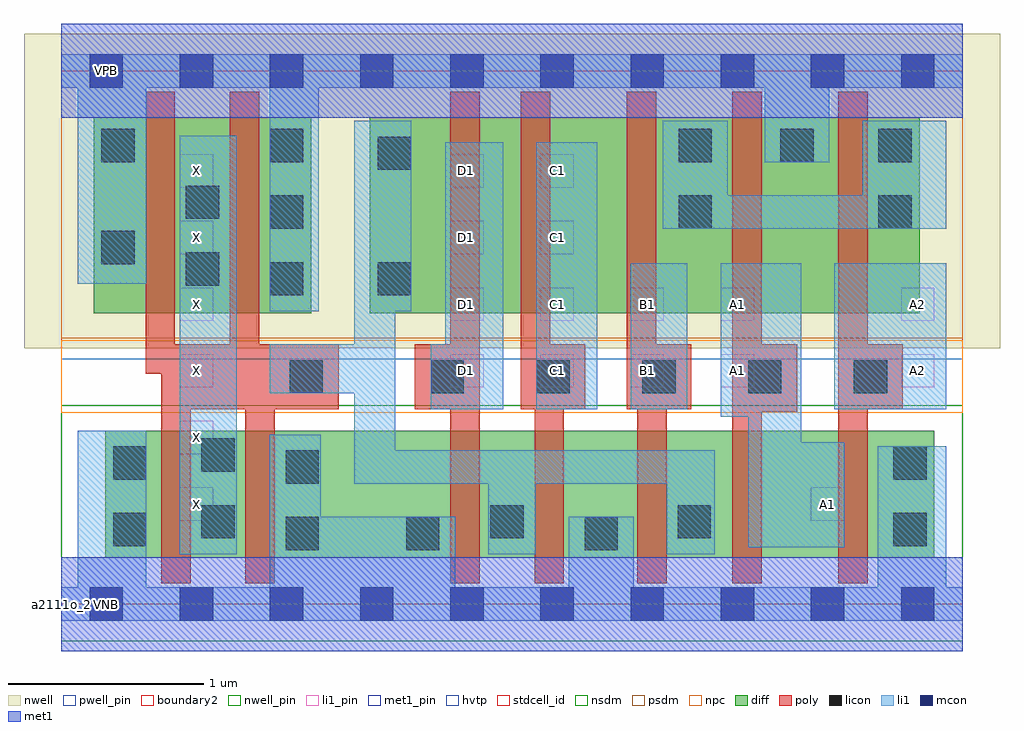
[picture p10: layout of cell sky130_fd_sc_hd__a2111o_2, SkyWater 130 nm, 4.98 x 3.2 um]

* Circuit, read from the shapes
.subckt sky130_fd_sc_hd__a2111o_2 A1 A2 B1 C1 D1 VGND VNB VPB VPWR X
XM1 X n1 VGND VNB sky130_fd_pr__nfet_01v8 w=0.65 l=0.15 m=2
XM2 n1 D1 VGND VNB sky130_fd_pr__nfet_01v8 w=0.65 l=0.15
XM3 VGND C1 n1 VNB sky130_fd_pr__nfet_01v8 w=0.65 l=0.15
XM4 n1 B1 VGND VNB sky130_fd_pr__nfet_01v8 w=0.65 l=0.15
XM5 n2 A1 n1 VNB sky130_fd_pr__nfet_01v8 w=0.65 l=0.15
XM6 VGND A2 n2 VNB sky130_fd_pr__nfet_01v8 w=0.65 l=0.15
XM7 X n1 VPWR VPB sky130_fd_pr__pfet_01v8_hvt w=1 l=0.15 m=2
XM8 n3 D1 n1 VPB sky130_fd_pr__pfet_01v8_hvt w=1 l=0.15
XM9 n4 C1 n3 VPB sky130_fd_pr__pfet_01v8_hvt w=1 l=0.15
XM10 n5 B1 n4 VPB sky130_fd_pr__pfet_01v8_hvt w=1 l=0.15
XM11 VPWR A1 n5 VPB sky130_fd_pr__pfet_01v8_hvt w=1 l=0.15
XM12 n5 A2 VPWR VPB sky130_fd_pr__pfet_01v8_hvt w=1 l=0.15
.ends

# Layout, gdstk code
import gdstk
lib = gdstk.Library(unit=1e-6, precision=1e-09)
def R(c, l, rs):  # rectangles x0, y0, x1, y1
    for r in rs: c.add(gdstk.rectangle(r[:2], r[2:], *l))
def A(c, l, x, y, w, h, nx, ny, dx, dy):  # array of equal rectangles
    R(c, l, [(x+i*dx, y+j*dy, x+i*dx+w, y+j*dy+h) for i in range(nx) for j in range(ny)])
def P(c, l, *ps):  # polygons
    for p in ps: c.add(gdstk.Polygon(p, *l))
nwell_pin = (64, 16)
nwell = (64, 20)
diff = (65, 20)
poly = (66, 20)
licon = (66, 44)
li1_pin = (67, 16)
li1 = (67, 20)
mcon = (67, 44)
met1_pin = (68, 16)
met1 = (68, 20)
hvtp = (78, 44)
stdcell_id = (81, 4)
nsdm = (93, 44)
psdm = (94, 20)
npc = (95, 20)
pwell_pin = (122, 16)
boundary2 = (236, 0)

sky130_fd_sc_hd__a2111o_ = lib.new_cell('sky130_fd_sc_hd__a2111o_2')
R(sky130_fd_sc_hd__a2111o_, nwell_pin, [(0.145,2.635,0.315,2.805)])
R(sky130_fd_sc_hd__a2111o_, nwell, [(-0.19,1.305,4.79,2.91)])
R(sky130_fd_sc_hd__a2111o_, diff, [(0.225,0.235,4.455,0.885), (0.165,1.485,1.275,2.485), (1.575,1.485,4.38,2.485)])
P(sky130_fd_sc_hd__a2111o_, poly, [(1.415,1.325),(1.01,1.325),(1.01,2.615),(0.86,2.615),(0.86,1.325),(0.58,1.325),(0.58,2.615),(0.43,2.615),(0.43,1.175),(0.51,1.175),(0.51,0.105),(0.66,0.105),(0.66,0.995),(0.94,0.995),(0.94,0.105),(1.09,0.105),(1.09,0.995),(1.415,0.995)],
  [(2.135,2.615),(1.985,2.615),(1.985,1.325),(1.805,1.325),(1.805,0.995),(1.985,0.995),(1.985,0.105),(2.135,0.105)],
  [(2.675,1.325),(2.495,1.325),(2.495,2.615),(2.345,2.615),(2.345,0.995),(2.415,0.995),(2.415,0.105),(2.565,0.105),(2.565,0.995),(2.675,0.995)],
  [(3.215,1.325),(3.035,1.325),(3.035,2.615),(2.885,2.615),(2.885,0.995),(2.94,0.995),(2.94,0.105),(3.09,0.105),(3.09,0.995),(3.215,0.995)],
  [(3.755,1.325),(3.575,1.325),(3.575,2.615),(3.425,2.615),(3.425,0.105),(3.575,0.105),(3.575,0.98),(3.755,0.98)],
  [(4.295,1.325),(4.115,1.325),(4.115,2.615),(3.965,2.615),(3.965,0.105),(4.115,0.105),(4.115,0.995),(4.295,0.995)])
A(sky130_fd_sc_hd__a2111o_, licon, 1.885, 1.075, 0.17, 0.17, 5, 1, 0.54, 0)
A(sky130_fd_sc_hd__a2111o_, licon, 1.065, 1.575, 0.17, 0.17, 1, 3, 0, 0.34)
R(sky130_fd_sc_hd__a2111o_, licon, [(1.145,0.275,1.315,0.445), (1.76,0.275,1.93,0.445), (2.67,0.275,2.84,0.445), (0.265,0.295,0.435,0.465), (4.245,0.295,4.415,0.465), (0.715,0.335,0.885,0.505), (2.19,0.335,2.36,0.505), (3.145,0.335,3.315,0.505), (1.145,0.615,1.315,0.785), (0.265,0.635,0.435,0.805), (4.245,0.635,4.415,0.805), (0.715,0.675,0.885,0.845), (1.165,1.075,1.335,1.245), (1.615,1.575,1.785,1.745), (0.635,1.625,0.805,1.795), (0.205,1.735,0.375,1.905), (3.15,1.915,3.32,2.085), (4.17,1.915,4.34,2.085), (0.635,1.965,0.805,2.135), (1.615,2.215,1.785,2.385), (0.205,2.255,0.375,2.425), (3.15,2.255,3.32,2.425), (3.67,2.255,3.84,2.425), (4.17,2.255,4.34,2.425)])
A(sky130_fd_sc_hd__a2111o_, li1_pin, 0.605, 0.425, 0.17, 0.17, 1, 6, 0, 0.34)
A(sky130_fd_sc_hd__a2111o_, li1_pin, 1.985, 1.105, 0.17, 0.17, 4, 2, 0.46, 0.34)
R(sky130_fd_sc_hd__a2111o_, li1_pin, [(3.825,0.425,3.995,0.595), (4.285,1.105,4.455,1.275), (4.285,1.445,4.455,1.615), (1.985,1.785,2.155,1.955), (2.445,1.785,2.615,1.955), (1.985,2.125,2.155,2.295), (2.445,2.125,2.615,2.295)])
R(sky130_fd_sc_hd__a2111o_, li1, [(0.605,0.255,0.895,2.39), (2.425,0.995,2.735,2.355), (2.905,0.995,3.195,1.74), (3.945,0.995,4.515,1.74)])
P(sky130_fd_sc_hd__a2111o_, li1, [(3.775,1.74),(3.365,1.74),(3.365,0.955),(3.505,0.955),(3.505,0.29),(3.995,0.29),(3.995,0.825),(3.775,0.825)],
  [(2.255,2.355),(1.96,2.355),(1.96,1.325),(1.885,1.325),(1.885,0.995),(2.255,0.995)],
  [(3.335,0.785),(1.705,0.785),(1.705,1.495),(1.785,1.495),(1.785,2.465),(1.495,2.465),(1.495,1.325),(1.065,1.325),(1.065,1.075),(1.495,1.075),(1.495,0.615),(2.18,0.615),(2.18,0.255),(2.42,0.255),(2.42,0.615),(3.09,0.615),(3.09,0.255),(3.335,0.255)],
  [(4.515,2.465),(4.09,2.465),(4.09,2.085),(3.4,2.085),(3.4,2.465),(3.07,2.465),(3.07,1.915),(4.515,1.915)],
  [(4.6,0.085),(4.515,0.085),(4.515,0.805),(4.165,0.805),(4.165,0.085),(2.92,0.085),(2.92,0.445),(2.59,0.445),(2.59,0.085),(2.01,0.085),(2.01,0.445),(1.325,0.445),(1.325,0.865),(1.065,0.865),(1.065,0.085),(0.435,0.085),(0.435,0.885),(0.085,0.885),(0.085,0.085),(0,0.085),(0,-0.085),(4.6,-0.085)],
  [(4.6,2.805),(0,2.805),(0,2.635),(0.085,2.635),(0.085,1.635),(0.435,1.635),(0.435,2.635),(1.065,2.635),(1.065,1.495),(1.315,1.495),(1.315,2.635),(3.59,2.635),(3.59,2.255),(3.92,2.255),(3.92,2.635),(4.6,2.635)])
A(sky130_fd_sc_hd__a2111o_, mcon, 0.145, -0.085, 0.17, 0.17, 10, 2, 0.46, 2.72)
R(sky130_fd_sc_hd__a2111o_, met1_pin, [(0.145,-0.085,0.315,0.085), (0.145,2.635,0.315,2.805)])
R(sky130_fd_sc_hd__a2111o_, hvtp, [(0,1.25,4.6,2.72)])
R(sky130_fd_sc_hd__a2111o_, stdcell_id, [(0,0,4.6,2.72)])
R(sky130_fd_sc_hd__a2111o_, nsdm, [(0,-0.19,4.6,1.015)])
R(sky130_fd_sc_hd__a2111o_, psdm, [(0,1.355,4.6,2.91)])
R(sky130_fd_sc_hd__a2111o_, npc, [(0,0.975,4.6,1.345)])
R(sky130_fd_sc_hd__a2111o_, pwell_pin, [(0.145,-0.085,0.315,0.085)])
R(sky130_fd_sc_hd__a2111o_, boundary2, [(0,0,4.6,2.72)])
sky130_fd_sc_hd__a2111o_.add(gdstk.FlexPath([(0,2.72),(4.6,2.72)], 0.48, ends="flush", simple_path=True, layer=68, datatype=20))  # met1
sky130_fd_sc_hd__a2111o_.add(gdstk.FlexPath([(0,0),(4.6,0)], 0.48, ends="flush", simple_path=True, layer=68, datatype=20))  # met1
sky130_fd_sc_hd__a2111o_.add(gdstk.Label('D1', (2.07,1.87), layer=67, texttype=5))
sky130_fd_sc_hd__a2111o_.add(gdstk.Label('A1', (3.45,1.53), layer=67, texttype=5))
sky130_fd_sc_hd__a2111o_.add(gdstk.Label('B1', (2.99,1.19), layer=67, texttype=5))
sky130_fd_sc_hd__a2111o_.add(gdstk.Label('C1', (2.53,1.53), layer=67, texttype=5))
sky130_fd_sc_hd__a2111o_.add(gdstk.Label('X', (0.69,1.87), layer=67, texttype=5))
sky130_fd_sc_hd__a2111o_.add(gdstk.Label('A2', (4.37,1.19), layer=67, texttype=5))
sky130_fd_sc_hd__a2111o_.add(gdstk.Label('D1', (2.07,1.19), layer=67, texttype=5))
sky130_fd_sc_hd__a2111o_.add(gdstk.Label('D1', (2.07,1.53), layer=67, texttype=5))
sky130_fd_sc_hd__a2111o_.add(gdstk.Label('X', (0.69,1.53), layer=67, texttype=5))
sky130_fd_sc_hd__a2111o_.add(gdstk.Label('X', (0.69,1.19), layer=67, texttype=5))
sky130_fd_sc_hd__a2111o_.add(gdstk.Label('X', (0.69,0.85), layer=67, texttype=5))
sky130_fd_sc_hd__a2111o_.add(gdstk.Label('X', (0.69,0.51), layer=67, texttype=5))
sky130_fd_sc_hd__a2111o_.add(gdstk.Label('X', (0.69,2.21), layer=67, texttype=5))
sky130_fd_sc_hd__a2111o_.add(gdstk.Label('C1', (2.53,1.19), layer=67, texttype=5))
sky130_fd_sc_hd__a2111o_.add(gdstk.Label('C1', (2.53,1.87), layer=67, texttype=5))
sky130_fd_sc_hd__a2111o_.add(gdstk.Label('C1', (2.53,2.21), layer=67, texttype=5))
sky130_fd_sc_hd__a2111o_.add(gdstk.Label('B1', (2.99,1.53), layer=67, texttype=5))
sky130_fd_sc_hd__a2111o_.add(gdstk.Label('A1', (3.45,1.19), layer=67, texttype=5))
sky130_fd_sc_hd__a2111o_.add(gdstk.Label('D1', (2.07,2.21), layer=67, texttype=5))
sky130_fd_sc_hd__a2111o_.add(gdstk.Label('A1', (3.91,0.51), layer=67, texttype=5))
sky130_fd_sc_hd__a2111o_.add(gdstk.Label('A2', (4.37,1.53), layer=67, texttype=5))
sky130_fd_sc_hd__a2111o_.add(gdstk.Label('VNB', (0.23,0), layer=64, texttype=59))
sky130_fd_sc_hd__a2111o_.add(gdstk.Label('VPB', (0.23,2.72), layer=64, texttype=5))
sky130_fd_sc_hd__a2111o_.add(gdstk.Label('VGND', (0.23,0), layer=68, texttype=5))
sky130_fd_sc_hd__a2111o_.add(gdstk.Label('VPWR', (0.23,2.72), layer=68, texttype=5))
sky130_fd_sc_hd__a2111o_.add(gdstk.Label('a2111o_2', (0,0), layer=83, texttype=44))

lib.write_gds('sky130_fd_sc_hd__a2111o_2.gds')
